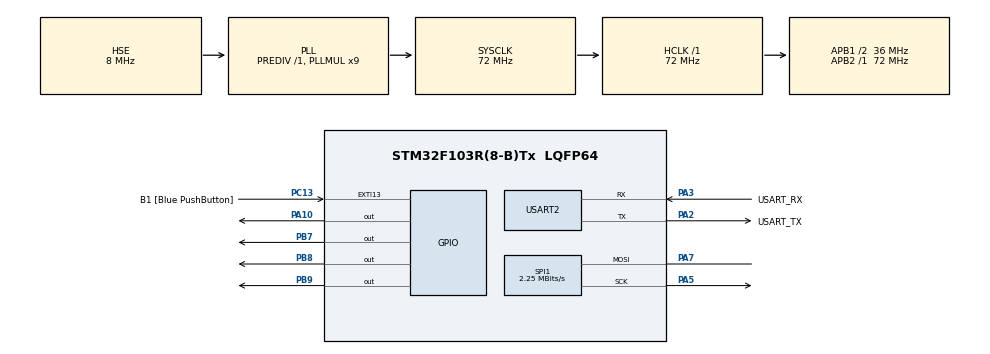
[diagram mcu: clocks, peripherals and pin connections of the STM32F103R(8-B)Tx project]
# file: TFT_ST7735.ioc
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Mcu.Family=STM32F1
Mcu.Name=STM32F103R(8-B)Tx
Mcu.Package=LQFP64
NVIC.EXTI15_10_IRQn=true\:0\:0\:false\:false\:true\:true\:true\:true
NVIC.PriorityGroup=NVIC_PRIORITYGROUP_4
PA10.PinState=GPIO_PIN_SET
PA10.Signal=GPIO_Output
PA13.GPIO_Label=TMS
PA13.Mode=Serial_Wire
PA13.Signal=SYS_JTMS-SWDIO
PA14.GPIO_Label=TCK
PA14.Mode=Serial_Wire
PA14.Signal=SYS_JTCK-SWCLK
PA2.GPIO_Label=USART_TX
PA2.GPIO_Mode=GPIO_MODE_AF_PP
PA2.GPIO_PuPd=GPIO_NOPULL
PA2.GPIO_Speed=GPIO_SPEED_FREQ_LOW
PA2.Mode=Asynchronous
PA2.Signal=USART2_TX
PA3.GPIO_Label=USART_RX
PA3.GPIO_Mode=GPIO_MODE_AF_PP
PA3.GPIO_PuPd=GPIO_NOPULL
PA3.GPIO_Speed=GPIO_SPEED_FREQ_LOW
PA3.Mode=Asynchronous
PA3.Signal=USART2_RX
PA5.Mode=Simplex_Bidirectional_Master
PA5.Signal=SPI1_SCK
PA7.Mode=Simplex_Bidirectional_Master
PA7.Signal=SPI1_MOSI
PB7.Signal=GPIO_Output
PB8.Signal=GPIO_Output
PB9.Signal=GPIO_Output
PC13-TAMPER-RTC.GPIO_Label=B1 [Blue PushButton]
PC13-TAMPER-RTC.GPIO_PuPd=GPIO_NOPULL
PC13-TAMPER-RTC.Signal=GPXTI13
PD0-OSC_IN.Mode=HSE-External-Oscillator
PD0-OSC_IN.Signal=RCC_OSC_IN
PD1-OSC_OUT.Mode=HSE-External-Oscillator
PD1-OSC_OUT.Signal=RCC_OSC_OUT
ProjectManager.HeapSize=0x200
ProjectManager.StackSize=0x400
ProjectManager.TargetToolchain=STM32CubeIDE
RCC.AHBFreq_Value=72000000
RCC.APB1CLKDivider=RCC_HCLK_DIV2
RCC.APB1Freq_Value=36000000
RCC.APB1TimFreq_Value=72000000
RCC.APB2Freq_Value=72000000
RCC.APB2TimFreq_Value=72000000
RCC.HCLKFreq_Value=72000000
RCC.PLLMUL=RCC_PLL_MUL9
RCC.PLLSourceVirtual=RCC_PLLSOURCE_HSE
RCC.RTCClockSelection=RCC_RTCCLKSOURCE_LSE
RCC.SYSCLKFreq_VALUE=72000000
RCC.SYSCLKSource=RCC_SYSCLKSOURCE_PLLCLK
RCC.USBFreq_Value=72000000
SPI1.BaudRatePrescaler=SPI_BAUDRATEPRESCALER_32
SPI1.CalculateBaudRate=2.25 MBits/s
SPI1.Direction=SPI_DIRECTION_1LINE
SPI1.Mode=SPI_MODE_MASTER
SPI1.VirtualType=VM_MASTER
TIM1.Period=0xffff-1
TIM1.Prescaler=72-1
USART2.VirtualMode=VM_ASYNC
VP_TIM1_VS_ClockSourceINT.Mode=Internal
board=NUCLEO-F103RB

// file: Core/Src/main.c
/* USER CODE BEGIN Header */
/**
  ******************************************************************************
  * @file           : main.c
  * @brief          : Main program body
  ******************************************************************************
  * @attention
  *
  * Copyright (c) 2024 STMicroelectronics.
  * All rights reserved.
  *
  * This software is licensed under terms that can be found in the LICENSE file
  * in the root directory of this software component.
  * If no LICENSE file comes with this software, it is provided AS-IS.
  *
  ******************************************************************************
  */
/* USER CODE END Header */
#include "main.h"

/* USER CODE BEGIN Includes */
#include "ST7735.h"
#include "GFX_FUNCTIONS.h"
#include "DHT11.h"
/* USER CODE END Includes */

SPI_HandleTypeDef hspi1;

TIM_HandleTypeDef htim1;

UART_HandleTypeDef huart2;

void SystemClock_Config(void);
static void MX_GPIO_Init(void);
static void MX_USART2_UART_Init(void);
static void MX_SPI1_Init(void);
static void MX_TIM1_Init(void);

int main(void)
{

  /* MCU Configuration--------------------------------------------------------*/

  /* Reset of all peripherals, Initializes the Flash interface and the Systick. */
  HAL_Init();

  /* Configure the system clock */
  SystemClock_Config();

  /* Initialize all configured peripherals */
  MX_GPIO_Init();
  MX_USART2_UART_Init();
  MX_SPI1_Init();
  MX_TIM1_Init();
  /* USER CODE BEGIN 2 */
  HAL_TIM_Base_Start(&htim1);
  uint8_t buffer[256];
  ST7735_Init(1);
  fillScreen(BLACK);
  /* USER CODE END 2 */

  /* Infinite loop */
  /* USER CODE BEGIN WHILE */
  while (1)
  {
  	ST7735_SetRotation(1);
  	if(dht11_read() == 1)
  	  	{ // 데이터가 정상적으로 수신된 경우
  	  		sprintf((char *)buffer, "%dC, %d%%", Temperature, Humidity);
  	  		ST7735_WriteString(0, 0, buffer, Font_11x18, WHITE,BLACK);
  	  		HAL_UART_Transmit(&huart2, buffer, strlen((char *)buffer), 100);
  	  	}
  	  	else
  	  	{                // 타임아웃
  	  		sprintf((char *)buffer, "timeout\n");
  	  		ST7735_WriteString(0, 0, buffer, Font_11x18, WHITE, BLACK);
  	  		HAL_UART_Transmit(&huart2, buffer, strlen((char *)buffer), 100);
  	  	}
  	  	HAL_Delay(500);
    /* USER CODE END WHILE */

  }
}

void SystemClock_Config(void)
{
  RCC_OscInitTypeDef RCC_OscInitStruct = {0};
  RCC_ClkInitTypeDef RCC_ClkInitStruct = {0};

  /** Initializes the RCC Oscillators according to the specified parameters
  * in the RCC_OscInitTypeDef structure.
  */
  RCC_OscInitStruct.OscillatorType = RCC_OSCILLATORTYPE_HSE;
  RCC_OscInitStruct.HSEState = RCC_HSE_ON;
  RCC_OscInitStruct.HSEPredivValue = RCC_HSE_PREDIV_DIV1;
  RCC_OscInitStruct.HSIState = RCC_HSI_ON;
  RCC_OscInitStruct.PLL.PLLState = RCC_PLL_ON;
  RCC_OscInitStruct.PLL.PLLSource = RCC_PLLSOURCE_HSE;
  RCC_OscInitStruct.PLL.PLLMUL = RCC_PLL_MUL9;
  if (HAL_RCC_OscConfig(&RCC_OscInitStruct) != HAL_OK)
  {
    Error_Handler();
  }

  /** Initializes the CPU, AHB and APB buses clocks
  */
  RCC_ClkInitStruct.ClockType = RCC_CLOCKTYPE_HCLK|RCC_CLOCKTYPE_SYSCLK
                              |RCC_CLOCKTYPE_PCLK1|RCC_CLOCKTYPE_PCLK2;
  RCC_ClkInitStruct.SYSCLKSource = RCC_SYSCLKSOURCE_PLLCLK;
  RCC_ClkInitStruct.AHBCLKDivider = RCC_SYSCLK_DIV1;
  RCC_ClkInitStruct.APB1CLKDivider = RCC_HCLK_DIV2;
  RCC_ClkInitStruct.APB2CLKDivider = RCC_HCLK_DIV1;

  if (HAL_RCC_ClockConfig(&RCC_ClkInitStruct, FLASH_LATENCY_2) != HAL_OK)
  {
    Error_Handler();
  }
}

static void MX_SPI1_Init(void)
{

  /* SPI1 parameter configuration*/
  hspi1.Instance = SPI1;
  hspi1.Init.Mode = SPI_MODE_MASTER;
  hspi1.Init.Direction = SPI_DIRECTION_1LINE;
  hspi1.Init.DataSize = SPI_DATASIZE_8BIT;
  hspi1.Init.CLKPolarity = SPI_POLARITY_LOW;
  hspi1.Init.CLKPhase = SPI_PHASE_1EDGE;
  hspi1.Init.NSS = SPI_NSS_SOFT;
  hspi1.Init.BaudRatePrescaler = SPI_BAUDRATEPRESCALER_32;
  hspi1.Init.FirstBit = SPI_FIRSTBIT_MSB;
  hspi1.Init.TIMode = SPI_TIMODE_DISABLE;
  hspi1.Init.CRCCalculation = SPI_CRCCALCULATION_DISABLE;
  hspi1.Init.CRCPolynomial = 10;
  if (HAL_SPI_Init(&hspi1) != HAL_OK)
  {
    Error_Handler();
  }

}

static void MX_TIM1_Init(void)
{

  TIM_ClockConfigTypeDef sClockSourceConfig = {0};
  TIM_MasterConfigTypeDef sMasterConfig = {0};

  htim1.Instance = TIM1;
  htim1.Init.Prescaler = 72-1;
  htim1.Init.CounterMode = TIM_COUNTERMODE_UP;
  htim1.Init.Period = 0xffff-1;
  htim1.Init.ClockDivision = TIM_CLOCKDIVISION_DIV1;
  htim1.Init.RepetitionCounter = 0;
  htim1.Init.AutoReloadPreload = TIM_AUTORELOAD_PRELOAD_DISABLE;
  if (HAL_TIM_Base_Init(&htim1) != HAL_OK)
  {
    Error_Handler();
  }
  sClockSourceConfig.ClockSource = TIM_CLOCKSOURCE_INTERNAL;
  if (HAL_TIM_ConfigClockSource(&htim1, &sClockSourceConfig) != HAL_OK)
  {
    Error_Handler();
  }
  sMasterConfig.MasterOutputTrigger = TIM_TRGO_RESET;
  sMasterConfig.MasterSlaveMode = TIM_MASTERSLAVEMODE_DISABLE;
  if (HAL_TIMEx_MasterConfigSynchronization(&htim1, &sMasterConfig) != HAL_OK)
  {
    Error_Handler();
  }

}

static void MX_USART2_UART_Init(void)
{

  huart2.Instance = USART2;
  huart2.Init.BaudRate = 115200;
  huart2.Init.WordLength = UART_WORDLENGTH_8B;
  huart2.Init.StopBits = UART_STOPBITS_1;
  huart2.Init.Parity = UART_PARITY_NONE;
  huart2.Init.Mode = UART_MODE_TX_RX;
  huart2.Init.HwFlowCtl = UART_HWCONTROL_NONE;
  huart2.Init.OverSampling = UART_OVERSAMPLING_16;
  if (HAL_UART_Init(&huart2) != HAL_OK)
  {
    Error_Handler();
  }

}

static void MX_GPIO_Init(void)
{
  GPIO_InitTypeDef GPIO_InitStruct = {0};

  /* GPIO Ports Clock Enable */
  __HAL_RCC_GPIOC_CLK_ENABLE();
  __HAL_RCC_GPIOD_CLK_ENABLE();
  __HAL_RCC_GPIOA_CLK_ENABLE();
  __HAL_RCC_GPIOB_CLK_ENABLE();

  /*Configure GPIO pin Output Level */
  HAL_GPIO_WritePin(GPIOA, GPIO_PIN_10, GPIO_PIN_SET);

  /*Configure GPIO pin Output Level */
  HAL_GPIO_WritePin(GPIOB, GPIO_PIN_7|GPIO_PIN_8|GPIO_PIN_9, GPIO_PIN_RESET);

  /*Configure GPIO pin : B1_Pin */
  GPIO_InitStruct.Pin = B1_Pin;
  GPIO_InitStruct.Mode = GPIO_MODE_IT_RISING;
  GPIO_InitStruct.Pull = GPIO_NOPULL;
  HAL_GPIO_Init(B1_GPIO_Port, &GPIO_InitStruct);

  /*Configure GPIO pin : PA10 */
  GPIO_InitStruct.Pin = GPIO_PIN_10;
  GPIO_InitStruct.Mode = GPIO_MODE_OUTPUT_PP;
  GPIO_InitStruct.Pull = GPIO_NOPULL;
  GPIO_InitStruct.Speed = GPIO_SPEED_FREQ_LOW;
  HAL_GPIO_Init(GPIOA, &GPIO_InitStruct);

  /*Configure GPIO pins : PB7 PB8 PB9 */
  GPIO_InitStruct.Pin = GPIO_PIN_7|GPIO_PIN_8|GPIO_PIN_9;
  GPIO_InitStruct.Mode = GPIO_MODE_OUTPUT_PP;
  GPIO_InitStruct.Pull = GPIO_NOPULL;
  GPIO_InitStruct.Speed = GPIO_SPEED_FREQ_LOW;
  HAL_GPIO_Init(GPIOB, &GPIO_InitStruct);

  /* EXTI interrupt init*/
  HAL_NVIC_SetPriority(EXTI15_10_IRQn, 0, 0);
  HAL_NVIC_EnableIRQ(EXTI15_10_IRQn);

}

void Error_Handler(void)
{
  __disable_irq();
  while (1)
  {
  }
}
